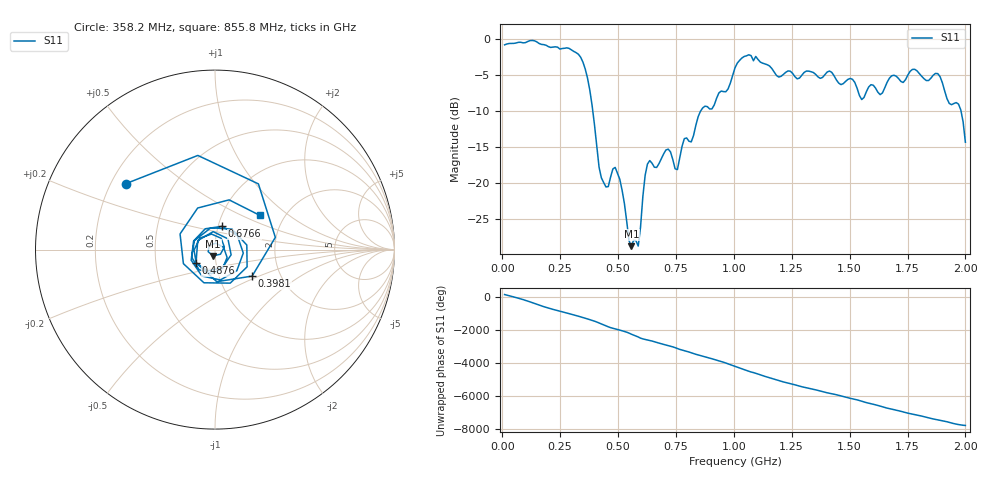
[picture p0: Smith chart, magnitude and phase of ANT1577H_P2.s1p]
!Created with skrf (http://scikit-rf.org).
# Hz S RI R 50.0
!freq ReS11 ImS11
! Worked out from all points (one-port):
!   201 points, 10 MHz to 2 GHz, reference 50 ohm
!   lowest |S11| = -28.8 dB at 557.2 MHz (marker M1), VSWR 1.08, Z = 48.9 - j3.43 ohm
!   |S11| at or under -10 dB: 390.8 MHz to 856.8 MHz (466 MHz wide, 74.7 % of centre); 1.981 GHz to end of sweep
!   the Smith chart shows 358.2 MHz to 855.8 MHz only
!   S11 on the Smith chart (normalised r, x): 358.2 MHz: 0.26, +0.31; 398.1 MHz: 1.44, -0.45; 487.6 MHz: 0.80, -0.12; 676.6 MHz: 1.05, +0.28; 855.8 MHz: 1.51, +0.64
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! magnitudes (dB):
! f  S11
! 10 MHz  -0.8
! 258.8 MHz  -1.3
! 358.2 MHz  -4.2
! 398.1 MHz  -11.9
! 427.9 MHz  -19.3
! 457.8 MHz  -20.5
! 487.6 MHz  -17.9
! 507.5 MHz  -19.5
! 557.2 MHz  -28.8
! 587.1 MHz  -28.8
! 626.9 MHz  -17.4
! 676.6 MHz  -17.3
! 716.5 MHz  -15.3
! 756.2 MHz  -18.1
! 786.1 MHz  -13.9
! 816 MHz  -14.3
! 855.8 MHz  -10.0
! 975.1 MHz  -6.9
! 1.005 GHz  -4.0
! 1.065 GHz  -2.2
! 1.254 GHz  -4.8
! 1.502 GHz  -5.5
! 1.552 GHz  -8.4
! 1.751 GHz  -5.0
! 1.881 GHz  -4.8
! 1.93 GHz  -9.0
! 1.97 GHz  -9.1
! 2 GHz  -14.3
